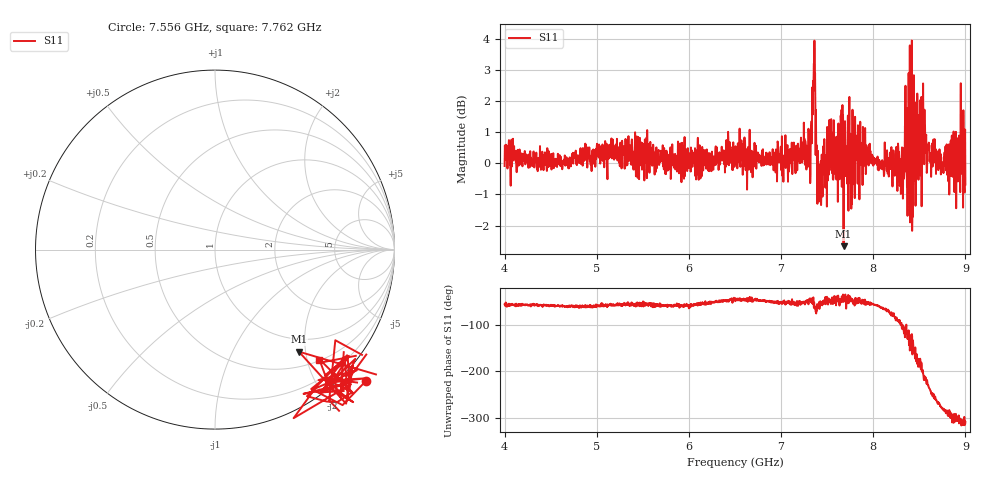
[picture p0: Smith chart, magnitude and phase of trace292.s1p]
! Created with skrf 1.8.0 (http://scikit-rf.org).
# Hz S RI R 50.0
!freq ReS11 ImS11
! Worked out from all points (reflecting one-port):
!   1601 points, 4 GHz to 9 GHz, reference 50 ohm
!   lowest |S11| = -2.7 dB at 7.678 GHz (marker M1), VSWR 6.57, Z = 37.8 - j93.6 ohm
!   phase of S11 starts at -56 deg and turns -253 deg over the sweep
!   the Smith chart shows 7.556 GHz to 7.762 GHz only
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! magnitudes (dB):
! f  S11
! 4 GHz  -0.1
! 4.625 GHz  -0.2
! 5.25 GHz  -0.1
! 5.875 GHz  0.3
! 6.5 GHz  0.2
! 7.125 GHz  0.3
! 7.294 GHz  0.4
! 7.347 GHz  2.7
! 7.362 GHz  4.0
! 7.4 GHz  0.4
! 7.428 GHz  -0.5
! 7.534 GHz  0.4
! 7.591 GHz  0.7
! 7.647 GHz  1.5
! 7.678 GHz  -2.7
! 7.75 GHz  -0.6
! 7.775 GHz  1.7
! 7.822 GHz  0.1
! 8.312 GHz  0.5
! 8.375 GHz  1.6
! 8.447 GHz  1.4
! 8.459 GHz  -1.4
! 8.481 GHz  0.2
! 8.522 GHz  2.1
! 8.603 GHz  0.7
! 8.747 GHz  0.0
! 8.956 GHz  0.0
! 9 GHz  -0.7
